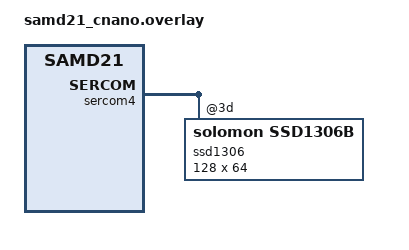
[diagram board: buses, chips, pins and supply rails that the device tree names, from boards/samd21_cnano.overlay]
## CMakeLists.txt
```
# SPDX-License-Identifier: Apache-2.0

cmake_minimum_required(VERSION 3.28.0)
find_package(Zephyr REQUIRED HINTS $ENV{ZEPHYR_BASE})
project(logo_touch)

target_sources(app PRIVATE src/main.c src/freetouch/adafruit_ptc.c)
```

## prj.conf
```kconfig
CONFIG_I2C=y
CONFIG_ADC=y

CONFIG_DISPLAY=y
CONFIG_CHARACTER_FRAMEBUFFER=y

CONFIG_HEAP_MEM_POOL_SIZE=2048
```

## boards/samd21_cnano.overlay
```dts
/*
 * SPDX-License-Identifier: Apache-2.0
 */

/ {
	chosen {
		zephyr,display = &ssd1306;
	};
};

&sercom4 {
	ssd1306: ssd1306@3d {
		compatible = "solomon,ssd1306b";
		reg = <0x3d>;
		width = <128>;
		height = <64>;
		segment-offset = <0>;
		page-offset = <0>;
		display-offset = <0>;
		multiplex-ratio = <63>;
		prechargep = <0x22>;
		segment-remap;
		com-invdir;
	};
};
```

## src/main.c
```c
/* SPDX-License-Identifier: Apache-2.0 */

/* 
 * Curiosity Nano Explorer logo touch demo.
 * 
 * Uses the SAM D21 Peripheral Touch Controller (PTC) to detect touch on
 * the standalone capacitive touch button underneath the Microchip logo 
 * on the Curiosity Nano Explorer and displays the button state, 
 * current sensor reading, and baseline value on the 128 x 64 OLED display.
 * 
 * The open-source Adafruit PTC library is used to configure
 * the PTC and read capacitive touch measurements.
 * https://github.com/adafruit/Adafruit_FreeTouch
 * 
 * This demo only supports the SAM D21 Curiosity Nano.
 * It will not work on the SAM E51 Curiosity Nano
 * because it lacks open-source driver support.
 */

#include <errno.h>
#include <stdbool.h>

#include <zephyr/device.h>
#include <zephyr/display/cfb.h>
#include <zephyr/drivers/display.h>
#include <zephyr/kernel.h>
#include <zephyr/sys/printk.h>

#include <soc.h>

#include "freetouch/adafruit_ptc.h"

#define TOUCH_PIN 2U // PA02
#define TOUCH_Y_LINE 0U // PTC Y0
#define TOUCH_SAMPLE_PERIOD_MS 50U
#define TOUCH_CALIBRATION_SAMPLES 32U
#define TOUCH_PRESS_DELTA 18
#define TOUCH_RELEASE_DELTA 3
#define TOUCH_CONVERSION_TIMEOUT_MS 20U

static const struct device *const display_dev = DEVICE_DT_GET(DT_CHOSEN(zephyr_display));

static struct adafruit_ptc_config touch_config;

static void touch_enable_clock(void)
{
	unsigned int key;
	uint8_t channel = PTC_GCLK_ID;
	uint32_t clock_config;
	uint32_t previous_generator;

	clock_config = ((uint32_t)channel << GCLK_CLKCTRL_ID_Pos) |
		       (3U << GCLK_CLKCTRL_GEN_Pos);

	key = irq_lock();
	*((volatile uint8_t *)&GCLK->CLKCTRL.reg) = channel;
	previous_generator = GCLK->CLKCTRL.bit.GEN;
	GCLK->CLKCTRL.bit.GEN = 0U;
	GCLK->CLKCTRL.reg &= ~GCLK_CLKCTRL_CLKEN;
	while ((GCLK->CLKCTRL.reg & GCLK_CLKCTRL_CLKEN) != 0U) {
	}
	GCLK->CLKCTRL.bit.GEN = previous_generator;
	GCLK->CLKCTRL.reg = clock_config;
	*((volatile uint8_t *)&GCLK->CLKCTRL.reg) = channel;
	GCLK->CLKCTRL.reg |= GCLK_CLKCTRL_CLKEN;
	irq_unlock(key);

	PM->APBCMASK.reg |= PM_APBCMASK_PTC;
}

static int touch_measure(uint16_t *value)
{
	int64_t deadline;

	adafruit_ptc_start_conversion(PTC, &touch_config);
	deadline = k_uptime_get() + TOUCH_CONVERSION_TIMEOUT_MS;
	while (!adafruit_ptc_is_conversion_finished(PTC)) {
		if (k_uptime_get() >= deadline) {
			return -ETIMEDOUT;
		}
	}

	*value = adafruit_ptc_get_conversion_result(PTC) / 4U;
	return 0;
}

static int show_message(const char *message)
{
	int ret;

	ret = cfb_framebuffer_clear(display_dev, false);
	if (ret < 0) {
		return ret;
	}

	ret = cfb_print(display_dev, "LOGO TOUCH", 0, 0);
	if (ret < 0) {
		return ret;
	}

	ret = cfb_print(display_dev, message, 0, 24);
	if (ret < 0) {
		return ret;
	}

	return cfb_framebuffer_finalize(display_dev);
}

static int show_touch(uint16_t raw, uint16_t baseline, bool touched)
{
	char raw_line[24];
	char baseline_line[24];
	int ret;

	ret = cfb_framebuffer_clear(display_dev, false);
	if (ret < 0) {
		return ret;
	}

	snprintk(raw_line, sizeof(raw_line), "RAW: %u", raw);
	snprintk(baseline_line, sizeof(baseline_line), "BASE: %u", baseline);

	ret = cfb_print(display_dev, "LOGO TOUCH", 0, 0);
	if (ret < 0) {
		return ret;
	}

	ret = cfb_print(display_dev, touched ? "TOUCHED" : "RELEASED", 0, 16);
	if (ret < 0) {
		return ret;
	}

	ret = cfb_print(display_dev, raw_line, 0, 32);
	if (ret < 0) {
		return ret;
	}

	ret = cfb_print(display_dev, baseline_line, 0, 48);
	if (ret < 0) {
		return ret;
	}

	return cfb_framebuffer_finalize(display_dev);
}

int main(void)
{
	uint32_t total = 0U;
	uint16_t baseline;
	uint16_t raw;
	bool touched = false;
	int ret;

	if (!device_is_ready(display_dev)) {
		printk("Display is not ready\n");
		return 0;
	}

	ret = display_set_pixel_format(display_dev, PIXEL_FORMAT_MONO10);
	if (ret != 0) {
		ret = display_set_pixel_format(display_dev, PIXEL_FORMAT_MONO01);
		if (ret != 0) {
			printk("Unsupported display pixel format\n");
			return 0;
		}
	}

	ret = cfb_framebuffer_init(display_dev);
	if (ret != 0) {
		printk("CFB initialization failed\n");
		return 0;
	}

	ret = cfb_framebuffer_set_font(display_dev, 0);
	if (ret != 0) {
		printk("Font selection failed\n");
		return 0;
	}

	ret = display_blanking_off(display_dev);
	if ((ret != 0) && (ret != -ENOSYS)) {
		printk("Failed to turn display on\n");
		return 0;
	}

	ret = show_message("CALIBRATING");
	if (ret < 0) {
		printk("Failed to update display\n");
		return 0;
	}

	adafruit_ptc_get_config_default(&touch_config);
	touch_config.pin = TOUCH_PIN;
	touch_config.yline = TOUCH_Y_LINE;
	touch_enable_clock();
	adafruit_ptc_init(PTC, &touch_config);

	for (uint8_t sample = 0U; sample < TOUCH_CALIBRATION_SAMPLES; sample++) {
		ret = touch_measure(&raw);
		if (ret < 0) {
			show_message("PTC TIMEOUT");
			printk("PTC conversion timed out\n");
			return 0;
		}
		total += raw;
		k_msleep(TOUCH_SAMPLE_PERIOD_MS);
	}
	baseline = total / TOUCH_CALIBRATION_SAMPLES;

	while (true) {
		int32_t delta;

		ret = touch_measure(&raw);
		if (ret < 0) {
			show_message("PTC TIMEOUT");
			printk("PTC conversion timed out\n");
			return 0;
		}
		delta = (int32_t)raw - baseline;
		if (!touched && (delta >= TOUCH_PRESS_DELTA)) {
			touched = true;
		} else if (touched && (delta <= TOUCH_RELEASE_DELTA)) {
			touched = false;
		}

		if (!touched) {
			baseline = (uint16_t)(((uint32_t)baseline * 31U + raw) / 32U);
		}

		ret = show_touch(raw, baseline, touched);
		if (ret < 0) {
			printk("Display update failed\n");
			return 0;
		}

		k_msleep(TOUCH_SAMPLE_PERIOD_MS);
	}
}
```
